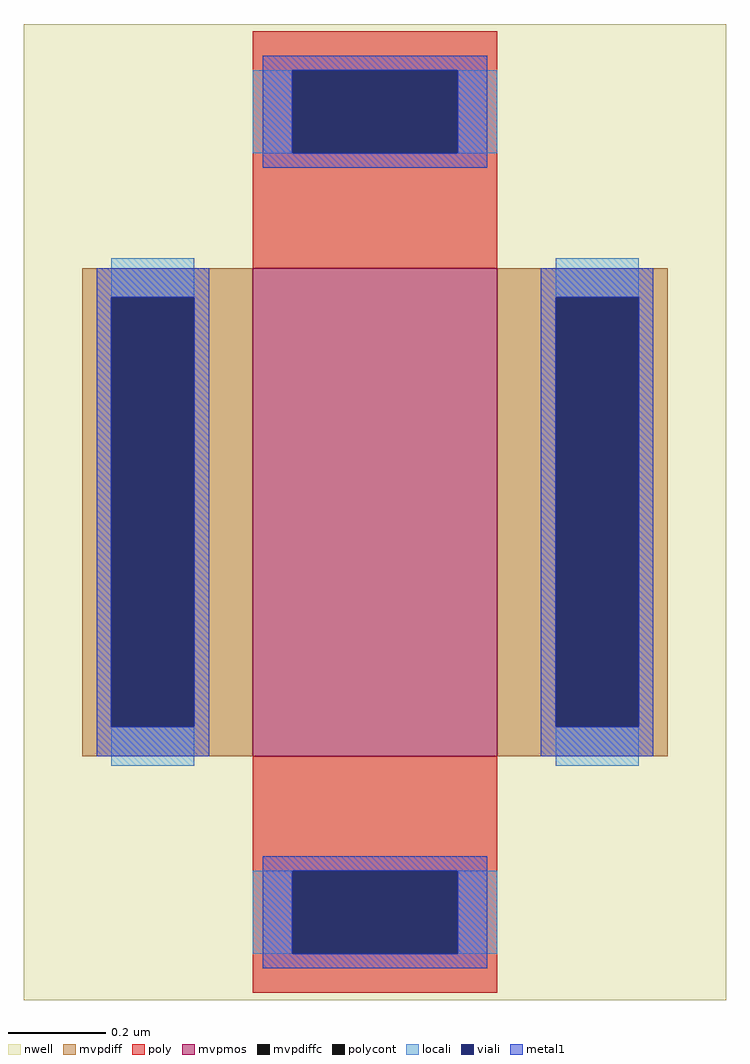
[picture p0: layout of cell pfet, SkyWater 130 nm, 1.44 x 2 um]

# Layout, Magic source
magic
tech sky130A
magscale 1 2
<< nwell >>
rect -144 -200 144 200
<< mvpmos >>
rect -50 -100 50 100
<< mvpdiff >>
rect -120 88 -50 100
rect -120 -88 -108 88
rect -74 -88 -50 88
rect -120 -100 -50 -88
rect 50 88 120 100
rect 50 -88 74 88
rect 108 -88 120 88
rect 50 -100 120 -88
<< mvpdiffc >>
rect -108 -88 -74 88
rect 74 -88 108 88
<< poly >>
rect -50 181 50 197
rect -50 147 -34 181
rect 34 147 50 181
rect -50 100 50 147
rect -50 -147 50 -100
rect -50 -181 -34 -147
rect 34 -181 50 -147
rect -50 -197 50 -181
<< polycont >>
rect -34 147 34 181
rect -34 -181 34 -147
<< locali >>
rect -50 147 -34 181
rect 34 147 50 181
rect -108 88 -74 104
rect -108 -104 -74 -88
rect 74 88 108 104
rect 74 -104 108 -88
rect -50 -181 -34 -147
rect 34 -181 50 -147
<< viali >>
rect -34 147 34 181
rect -108 -88 -74 88
rect 74 -88 108 88
rect -34 -181 34 -147
<< metal1 >>
rect -46 181 46 187
rect -46 147 -34 181
rect 34 147 46 181
rect -46 141 46 147
rect -114 88 -68 100
rect -114 -88 -108 88
rect -74 -88 -68 88
rect -114 -100 -68 -88
rect 68 88 114 100
rect 68 -88 74 88
rect 108 -88 114 88
rect 68 -100 114 -88
rect -46 -147 46 -141
rect -46 -181 -34 -147
rect 34 -181 46 -147
rect -46 -187 46 -181
<< end >>
